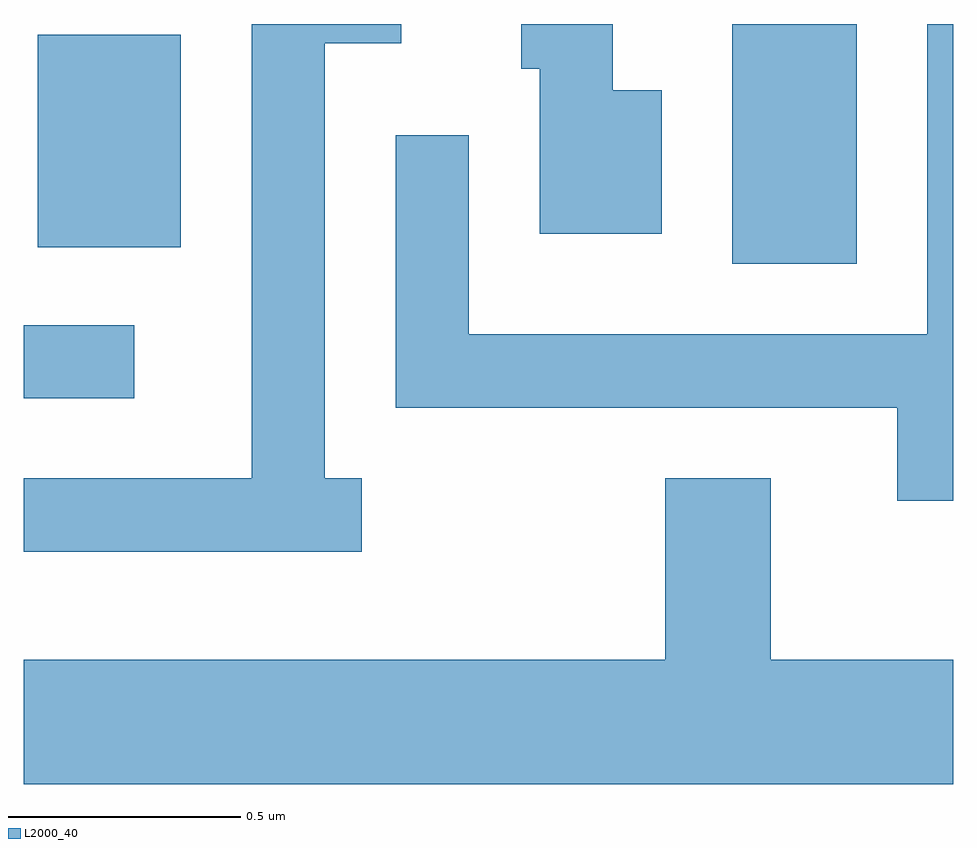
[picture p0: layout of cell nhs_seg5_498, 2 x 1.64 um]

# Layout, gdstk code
import gdstk
lib = gdstk.Library(unit=1e-6, precision=1e-09)
def R(c, l, rs):  # rectangles x0, y0, x1, y1
    for r in rs: c.add(gdstk.rectangle(r[:2], r[2:], *l))
def P(c, l, *ps):  # polygons
    for p in ps: c.add(gdstk.Polygon(p, *l))
L2000_40 = (2000, 40)

nhs_seg5_498 = lib.new_cell('nhs_seg5_498')
R(nhs_seg5_498, L2000_40, [(188.611,1484.266,188.848,1484.424), (190.136,1484.556,190.404,1485.072), (188.641,1484.591,188.949,1485.049)])
P(nhs_seg5_498, L2000_40, [(189.984,1484.929),(189.879,1484.929),(189.879,1485.072),(189.681,1485.072),(189.681,1484.976),(189.721,1484.976),(189.721,1484.621),(189.984,1484.621)],
  [(189.338,1484.094),(189.259,1484.094),(189.259,1485.031),(189.423,1485.031),(189.423,1485.072),(189.101,1485.072),(189.101,1484.094),(188.611,1484.094),(188.611,1483.936),(189.338,1483.936)],
  [(190.611,1485.072),(190.556,1485.072),(190.556,1484.404),(189.569,1484.404),(189.569,1484.833),(189.411,1484.833),(189.411,1484.246),(190.491,1484.246),(190.491,1484.046),(190.611,1484.046)],
  [(190.611,1483.704),(190.219,1483.704),(190.219,1484.094),(189.991,1484.094),(189.991,1483.704),(188.611,1483.704),(188.611,1483.436),(190.611,1483.436)])

lib.write_gds('nhs_seg5_498.gds')
